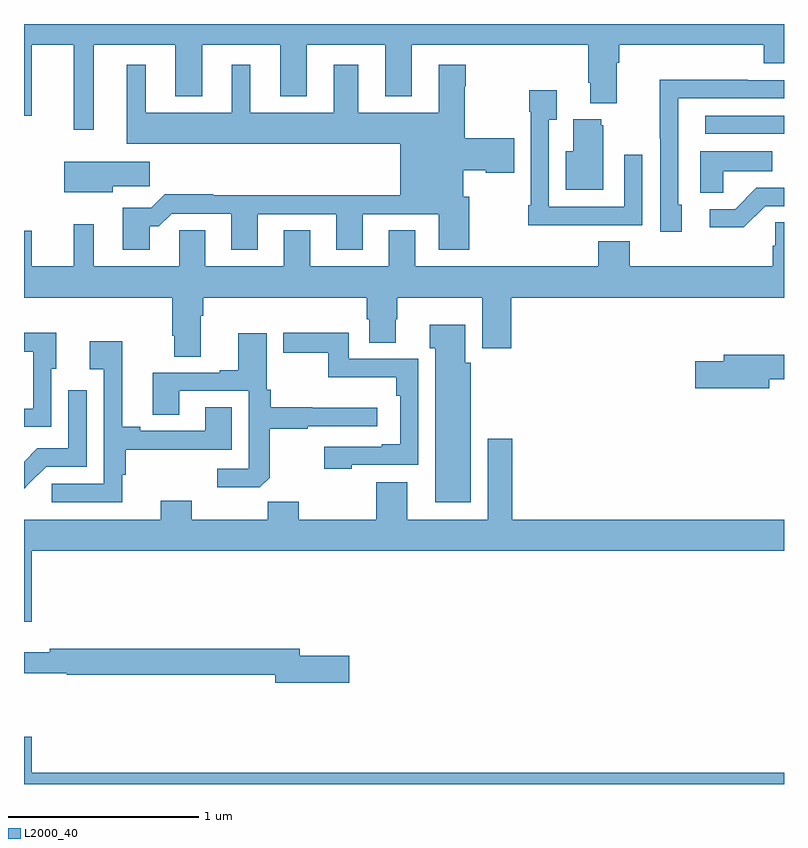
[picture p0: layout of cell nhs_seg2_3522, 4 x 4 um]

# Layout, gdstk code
import gdstk
lib = gdstk.Library(unit=1e-6, precision=1e-09)
def R(c, l, rs):  # rectangles x0, y0, x1, y1
    for r in rs: c.add(gdstk.rectangle(r[:2], r[2:], *l))
def P(c, l, *ps):  # polygons
    for p in ps: c.add(gdstk.Polygon(p, *l))
L2000_40 = (2000, 40)

nhs_seg2_3522 = lib.new_cell('nhs_seg2_3522')
R(nhs_seg2_3522, L2000_40, [(300.585,591.222,301,591.318)])
P(nhs_seg2_3522, L2000_40, [(297.367,591.692),(297.797,591.692),(297.797,591.419),(297.937,591.419),(297.937,591.692),(298.349,591.692),(298.349,591.419),(298.489,591.419),(298.489,591.692),(298.901,591.692),(298.901,591.419),(299.041,591.419),(299.041,591.692),(299.969,591.692),(299.969,591.49),(299.981,591.49),(299.981,591.383),(300.121,591.383),(300.121,591.596),(300.134,591.596),(300.134,591.692),(300.893,591.692),(300.893,591.593),(301,591.593),(301,591.8),(297,591.8),(297,591.318),(297.04,591.318),(297.04,591.692),(297.263,591.692),(297.263,591.243),(297.367,591.243)],
  [(297.661,590.735),(297.71,590.735),(297.777,590.802),(298.091,590.802),(298.091,590.613),(298.231,590.613),(298.231,590.799),(298.643,590.799),(298.643,590.613),(298.783,590.613),(298.783,590.799),(299.183,590.799),(299.183,590.613),(299.343,590.613),(299.343,590.892),(299.311,590.892),(299.311,591.029),(299.431,591.029),(299.431,591.017),(299.581,591.017),(299.581,591.2),(299.319,591.2),(299.319,591.473),(299.324,591.473),(299.324,591.586),(299.183,591.586),(299.183,591.334),(298.759,591.334),(298.759,591.586),(298.631,591.586),(298.631,591.334),(298.192,591.334),(298.192,591.586),(298.094,591.586),(298.094,591.334),(297.64,591.334),(297.64,591.586),(297.542,591.586),(297.542,591.17),(298.979,591.17),(298.979,590.9),(297.995,590.9),(297.995,590.903),(297.74,590.903),(297.67,590.833),(297.521,590.833),(297.521,590.613),(297.661,590.613)],
  [(300.463,590.85),(300.444,590.85),(300.444,591.408),(301,591.408),(301,591.504),(300.809,591.504),(300.809,591.506),(300.346,591.506),(300.346,591.199),(300.348,591.199),(300.348,590.706),(300.463,590.706)],
  [(299.939,590.742),(300.255,590.742),(300.255,591.112),(300.159,591.112),(300.159,590.838),(299.763,590.838),(299.763,591.295),(299.803,591.295),(299.803,591.451),(299.66,591.451),(299.66,591.338),(299.667,591.338),(299.667,590.845),(299.655,590.845),(299.655,590.741),(299.939,590.741)],
  [(300.049,591.267),(300.038,591.267),(300.038,591.298),(299.891,591.298),(299.891,591.13),(299.852,591.13),(299.852,590.927),(300.049,590.927)],
  [(300.681,591.026),(300.938,591.026),(300.938,591.13),(300.56,591.13),(300.56,590.911),(300.681,590.911)],
  [(297.466,590.947),(297.661,590.947),(297.661,591.076),(297.212,591.076),(297.212,590.915),(297.466,590.915)],
  [(300.9,590.841),(301,590.841),(301,590.937),(300.854,590.937),(300.743,590.826),(300.609,590.826),(300.609,590.729),(300.787,590.729)],
  [(298.805,590.247),(298.817,590.247),(298.817,590.122),(298.957,590.122),(298.957,590.247),(298.965,590.247),(298.965,590.36),(299.411,590.36),(299.411,590.094),(299.564,590.094),(299.564,590.36),(301,590.36),(301,590.756),(300.954,590.756),(300.954,590.633),(300.941,590.633),(300.941,590.524),(300.188,590.524),(300.188,590.657),(300.023,590.657),(300.023,590.524),(299.059,590.524),(299.059,590.714),(298.919,590.714),(298.919,590.524),(298.507,590.524),(298.507,590.714),(298.367,590.714),(298.367,590.524),(297.955,590.524),(297.955,590.714),(297.816,590.714),(297.816,590.524),(297.367,590.524),(297.367,590.746),(297.263,590.746),(297.263,590.524),(297.04,590.524),(297.04,590.713),(297,590.713),(297,590.36),(297.779,590.36),(297.779,590.158),(297.791,590.158),(297.791,590.05),(297.931,590.05),(297.931,590.264),(297.944,590.264),(297.944,590.36),(298.805,590.36)],
  [(299.35,590.016),(299.323,590.016),(299.323,590.218),(299.135,590.218),(299.135,590.093),(299.165,590.093),(299.165,589.283),(299.35,589.283)],
  [(298.725,589.479),(299.076,589.479),(299.076,590.037),(298.71,590.037),(298.71,590.174),(298.365,590.174),(298.365,590.071),(298.602,590.071),(298.602,589.94),(298.96,589.94),(298.96,589.844),(298.98,589.844),(298.98,589.588),(298.883,589.588),(298.883,589.575),(298.581,589.575),(298.581,589.46),(298.725,589.46)],
  [(297.144,589.986),(297.169,589.986),(297.169,590.174),(297,590.174),(297,590.076),(297.048,590.076),(297.048,589.776),(297,589.776),(297,589.68),(297.144,589.68)],
  [(298.293,589.413),(298.293,589.671),(298.493,589.671),(298.493,589.683),(298.858,589.683),(298.858,589.78),(298.517,589.78),(298.517,589.784),(298.298,589.784),(298.298,589.876),(298.278,589.876),(298.278,590.173),(298.127,590.173),(298.127,589.978),(298.031,589.978),(298.031,589.965),(297.677,589.965),(297.677,589.744),(297.817,589.744),(297.817,589.869),(298.182,589.869),(298.182,589.458),(298.017,589.458),(298.017,589.362),(298.241,589.362)],
  [(297.518,589.427),(297.536,589.427),(297.536,589.558),(298.093,589.558),(298.093,589.784),(297.953,589.784),(297.953,589.659),(297.613,589.659),(297.613,589.679),(297.517,589.679),(297.517,590.131),(297.345,590.131),(297.345,589.982),(297.42,589.982),(297.42,589.38),(297.147,589.38),(297.147,589.284),(297.518,589.284)],
  [(300.922,589.93),(301,589.93),(301,590.059),(300.683,590.059),(300.683,590.025),(300.534,590.025),(300.534,589.883),(300.922,589.883)],
  [(297.025,589.38),(297.026,589.379),(297.117,589.47),(297.33,589.47),(297.33,589.873),(297.234,589.873),(297.234,589.566),(297.071,589.566),(297,589.495),(297,589.355)],
  [(297.04,589.028),(301,589.028),(301,589.192),(299.57,589.192),(299.57,589.618),(299.441,589.618),(299.441,589.192),(299.017,589.192),(299.017,589.387),(298.853,589.387),(298.853,589.192),(298.447,589.192),(298.447,589.285),(298.283,589.285),(298.283,589.192),(297.883,589.192),(297.883,589.291),(297.719,589.291),(297.719,589.192),(297,589.192),(297,588.654),(297.04,588.654)],
  [(298.711,588.476),(298.45,588.476),(298.45,588.512),(297.136,588.512),(297.136,588.493),(297,588.493),(297,588.384),(297.226,588.384),(297.226,588.376),(298.322,588.376),(298.322,588.334),(298.711,588.334)],
  [(297.04,588.049),(297,588.049),(297,587.8),(301,587.8),(301,587.86),(297.04,587.86)])

lib.write_gds('nhs_seg2_3522.gds')
